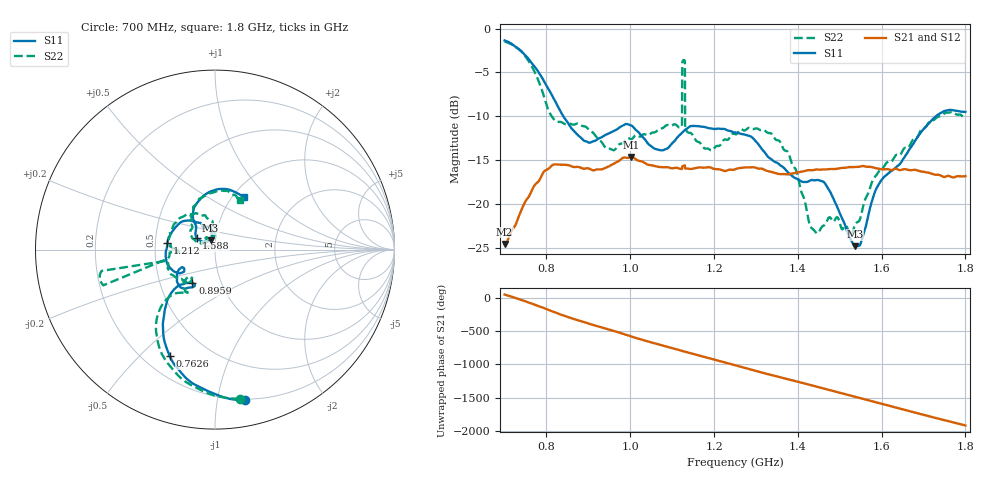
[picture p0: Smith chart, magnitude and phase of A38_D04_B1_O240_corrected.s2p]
! Created with skrf 1.9.0 (http://scikit-rf.org).
# Hz S RI R 50.0
!freq ReS11 ImS11 ReS21 ImS21 ReS12 ImS12 ReS22 ImS22
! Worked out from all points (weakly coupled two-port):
!   1601 points, 700 MHz to 1.8 GHz, reference 50 ohm
!   highest |S21| = -14.68 dB at 1.002 GHz (marker M1); lowest = -24.6 dB at 700 MHz (marker M2)
!   lowest |S11| = -24.8 dB at 1.537 GHz (marker M3), VSWR 1.12, Z = 47.3 + j4.9 ohm
!   |S11| at or under -10 dB: 839.9 MHz to 1.73 GHz (890.1 MHz wide, 69.3 % of centre)
!   |S22| runs from -23.7 to -1.5 dB; largest |S21 - S12| = 0.0034
!   S11 on the Smith chart (normalised r, x): 700 MHz: 0.19, -1.20; 762.6 MHz: 0.30, -0.62; 895.9 MHz: 0.73, -0.29; 1.212 GHz: 0.58, +0.05; 1.588 GHz: 0.81, +0.11; 1.8 GHz: 1.13, +0.74
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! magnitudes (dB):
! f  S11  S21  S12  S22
! 700 MHz  -1.4  -24.6  -24.4  -1.5
! 762.6 MHz  -3.8  -18.7  -18.7  -4.1
! 816.9 MHz  -7.9  -15.5  -15.6  -10.3
! 883.6 MHz  -12.5  -15.9  -15.8  -11.1
! 895.9 MHz  -12.9  -16.0  -16.0  -11.3
! 956.4 MHz  -11.8  -15.5  -15.5  -13.8
! 1.002 GHz  -11.1  -14.7  -14.8  -12.6
! 1.067 GHz  -13.8  -15.8  -15.7  -11.5
! 1.118 GHz  -12.2  -16.0  -15.9  -11.3
! 1.125 GHz  -11.8  -15.7  -15.7  -3.8
! 1.13 GHz  -11.6  -15.6  -15.7  -3.6
! 1.137 GHz  -11.4  -16.0  -16.0  -11.8
! 1.212 GHz  -11.4  -16.1  -16.1  -13.4
! 1.25 GHz  -11.9  -16.1  -16.0  -12.1
! 1.357 GHz  -15.5  -16.6  -16.6  -12.9
! 1.434 GHz  -17.3  -16.2  -16.1  -22.8
! 1.468 GHz  -17.9  -16.1  -16.0  -22.1
! 1.537 GHz  -24.8  -15.8  -15.8  -22.4
! 1.588 GHz  -18.3  -15.9  -15.9  -16.7
! 1.617 GHz  -16.5  -16.1  -16.1  -15.2
! 1.731 GHz  -9.9  -16.7  -16.7  -10.2
! 1.8 GHz  -9.5  -16.9  -16.8  -10.2
